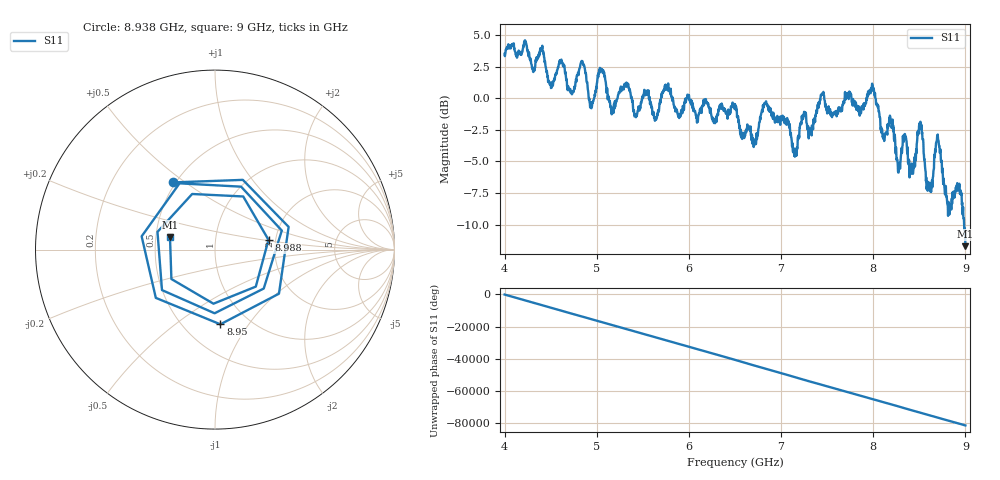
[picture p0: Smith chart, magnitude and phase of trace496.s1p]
! Created with skrf 1.8.0 (http://scikit-rf.org).
# Hz S RI R 50.0
!freq ReS11 ImS11
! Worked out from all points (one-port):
!   1601 points, 4 GHz to 9 GHz, reference 50 ohm
!   lowest |S11| = -11.7 dB at 9 GHz (marker M1), VSWR 1.70, Z = 29.7 + j4.46 ohm
!   |S11| at or under -10 dB: 8.98631 GHz to end of sweep
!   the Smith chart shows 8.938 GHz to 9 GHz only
!   S11 on the Smith chart (normalised r, x): 8.938 GHz: 0.48, +0.45; 8.95 GHz: 0.74, -0.75; 8.988 GHz: 1.83, +0.22; 9 GHz: 0.59, +0.09
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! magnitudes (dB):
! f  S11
! 4 GHz  3.5
! 4.5 GHz  1.2
! 4.625 GHz  2.8
! 4.725 GHz  0.4
! 4.85 GHz  2.7
! 4.938 GHz  -0.3
! 5.047 GHz  2.3
! 5.159 GHz  -1.0
! 5.25 GHz  0.5
! 5.875 GHz  -1.1
! 6.5 GHz  -0.5
! 6.706 GHz  -3.5
! 6.841 GHz  -0.4
! 7.125 GHz  -3.9
! 7.441 GHz  0.3
! 7.75 GHz  0.4
! 7.994 GHz  1.0
! 8.269 GHz  -5.8
! 8.375 GHz  -4.6
! 8.428 GHz  -5.7
! 8.506 GHz  -2.1
! 8.603 GHz  -6.7
! 8.703 GHz  -3.2
! 8.822 GHz  -8.7
! 8.938 GHz  -7.1
! 8.95 GHz  -7.6
! 8.988 GHz  -10.4
! 9 GHz  -11.7
